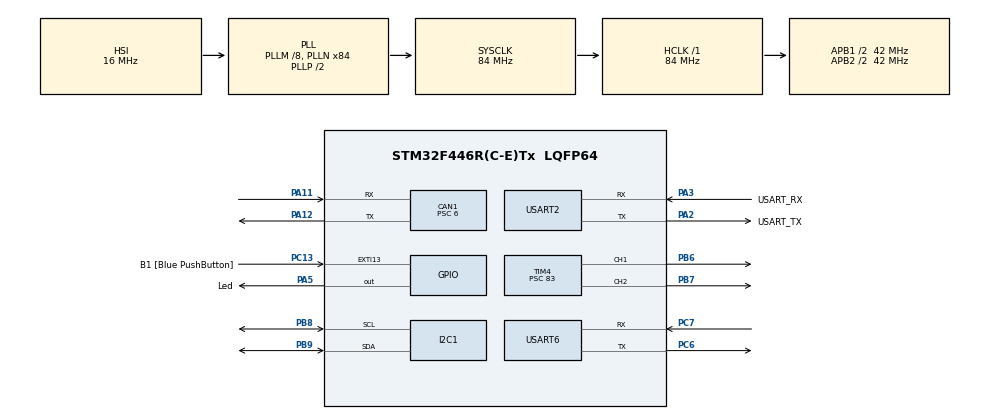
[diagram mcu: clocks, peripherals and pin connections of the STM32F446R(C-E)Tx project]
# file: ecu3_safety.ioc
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CAN1.BS1=CAN_BS1_11TQ
CAN1.BS2=CAN_BS2_2TQ
CAN1.CalculateBaudRate=500000
CAN1.CalculateTimeBit=2000
CAN1.CalculateTimeQuantum=142.85714285714286
CAN1.Prescaler=6
FREERTOS.BinarySemaphores01=CANRXSemaphore,Dynamic,NULL,Depleted
FREERTOS.Mutexes01=vehicleMutex,Dynamic,NULL,Available;controlMutex,Dynamic,NULL,Available;Mutex_RiskData,Dynamic,NULL,Available;Mutex_I2C,Dynamic,NULL,Available
FREERTOS.Queues01=Queue_CAN_RX,16,12,1,Dynamic,NULL,NULL;Queue_DTC,16,4,1,Dynamic,NULL,NULL
FREERTOS.Tasks01=defaultTask,24,128,StartDefaultTask,Default,NULL,Dynamic,NULL,NULL;Task_CAN_RX,40,128,StartCANRXTask,Default,NULL,Dynamic,NULL,NULL;Task_LED,24,128,StartLEDTask,Default,NULL,Dynamic,NULL,NULL;Task_CAN_TX,24,128,StartCANTXTask,Default,NULL,Dynamic,NULL,NULL;Task_Heartbeat,8,128,StartHeartbeatTask,Default,NULL,Dynamic,NULL,NULL;Task_Risk,40,128,StartRiskTask,Default,NULL,Dynamic,NULL,NULL;Task_Brake,24,128,StartBrakeTask,Default,NULL,Dynamic,NULL,NULL;Task_Wiper,24,128,StartWiperTask,Default,NULL,Dynamic,NULL,NULL
Mcu.Family=STM32F4
Mcu.Name=STM32F446R(C-E)Tx
Mcu.Package=LQFP64
NVIC.CAN1_RX0_IRQn=true\:5\:0\:false\:false\:true\:true\:true\:true\:true
NVIC.CAN1_RX1_IRQn=true\:5\:0\:false\:false\:true\:true\:true\:true\:true
NVIC.PriorityGroup=NVIC_PRIORITYGROUP_4
PA11.Mode=CAN_Activate
PA11.Signal=CAN1_RX
PA12.Mode=CAN_Activate
PA12.Signal=CAN1_TX
PA13.GPIO_Label=TMS
PA13.Mode=Serial_Wire
PA13.Signal=SYS_JTMS-SWDIO
PA14.GPIO_Label=TCK
PA14.Mode=Serial_Wire
PA14.Signal=SYS_JTCK-SWCLK
PA2.GPIO_Label=USART_TX
PA2.Mode=Asynchronous
PA2.Signal=USART2_TX
PA3.GPIO_Label=USART_RX
PA3.Mode=Asynchronous
PA3.Signal=USART2_RX
PA5.GPIO_Label=Led
PA5.PinState=GPIO_PIN_SET
PA5.Signal=GPIO_Output
PB3.GPIO_Label=SWO
PB3.Signal=SYS_JTDO-SWO
PB6.Signal=S_TIM4_CH1
PB7.Signal=S_TIM4_CH2
PB8.Mode=I2C
PB8.Signal=I2C1_SCL
PB9.Mode=I2C
PB9.Signal=I2C1_SDA
PC13.GPIO_Label=B1 [Blue PushButton]
PC13.GPIO_ModeDefaultEXTI=GPIO_MODE_IT_FALLING
PC13.Signal=GPXTI13
PC14-OSC32_IN.Mode=LSE-External-Oscillator
PC14-OSC32_IN.Signal=RCC_OSC32_IN
PC15-OSC32_OUT.Mode=LSE-External-Oscillator
PC15-OSC32_OUT.Signal=RCC_OSC32_OUT
PC6.Mode=Asynchronous
PC6.Signal=USART6_TX
PC7.Mode=Asynchronous
PC7.Signal=USART6_RX
PH0-OSC_IN.Mode=HSE-External-Oscillator
PH0-OSC_IN.Signal=RCC_OSC_IN
PH1-OSC_OUT.Mode=HSE-External-Oscillator
PH1-OSC_OUT.Signal=RCC_OSC_OUT
ProjectManager.HeapSize=0x200
ProjectManager.StackSize=0x400
ProjectManager.TargetToolchain=STM32CubeIDE
RCC.48MHZClocksFreq_Value=84000000
RCC.AHBFreq_Value=84000000
RCC.APB1CLKDivider=RCC_HCLK_DIV2
RCC.APB1Freq_Value=42000000
RCC.APB1TimFreq_Value=84000000
RCC.APB2CLKDivider=RCC_HCLK_DIV2
RCC.APB2Freq_Value=42000000
RCC.APB2TimFreq_Value=84000000
RCC.CortexFreq_Value=84000000
RCC.FLatency-AdvancedSettings=FLASH_LATENCY_2
RCC.HCLKFreq_Value=84000000
RCC.HSE_VALUE=8000000
RCC.HSI_VALUE=16000000
RCC.PLLM=8
RCC.PLLN=84
RCC.SYSCLKFreq_VALUE=84000000
RCC.SYSCLKSource=RCC_SYSCLKSOURCE_PLLCLK
RCC.USBFreq_Value=84000000
RCC.VCOOutputFreq_Value=168000000
SH.S_TIM4_CH1.0=TIM4_CH1,PWM Generation1 CH1
SH.S_TIM4_CH2.0=TIM4_CH2,PWM Generation2 CH2
TIM4.Channel-PWM\ Generation1\ CH1=TIM_CHANNEL_1
TIM4.Channel-PWM\ Generation2\ CH2=TIM_CHANNEL_2
TIM4.Period=19999
TIM4.Prescaler=83
TIM4.Pulse-PWM\ Generation1\ CH1=1500
USART2.VirtualMode=VM_ASYNC
USART6.VirtualMode=VM_ASYNC
VP_FREERTOS_VS_CMSIS_V2.Mode=CMSIS_V2
VP_TIM4_VS_ClockSourceINT.Mode=Internal
board=NUCLEO-F446RE

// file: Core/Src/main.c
/* USER CODE BEGIN Header */
/**
  ******************************************************************************
  * @file           : main.c
  * @brief          : Main program body
  ******************************************************************************
  */
/* USER CODE END Header */
#include "main.h"
#include "cmsis_os.h"
#include "can.h"
#include "i2c.h"
#include "tim.h"
#include "usart.h"
#include "gpio.h"

/* USER CODE BEGIN Includes */
#include "can_comm.h"
#include "control_data.h"
/* USER CODE END Includes */

/* USER CODE BEGIN PV */
// [추가] 다른 파일(freertos.c)에 있는 큐 핸들러를 main.c로 땡겨옵니다!
extern osMessageQueueId_t Queue_CAN_RXHandle;

// 전역 변수 선언 (인터럽트 수신 데이터 저장용)
CAN_RxHeaderTypeDef RxHeader;
uint8_t RxData[8];

// 위험도 자체 판단용 상태 변수
volatile uint8_t current_risk_level = RISK_SAFE;

// CAN 송신용 변수 (ECU3 상태 및 Heartbeat 송신용)
CAN_TxHeaderTypeDef TxHeader;
uint8_t TxData[8];
uint32_t TxMailbox;

// [OTA 업데이트용 상태 변수]
volatile uint8_t ota_mode_active = 0;

volatile uint8_t current_humidity = 0; // ECU1에게 받을 습도 데이터 저장용
volatile uint16_t current_lux = 0;     // 조도 데이터 저장용
/* USER CODE END PV */

void SystemClock_Config(void);
void MX_FREERTOS_Init(void);
/* USER CODE BEGIN PFP */
void CAN_Filter_Config(void);
/* USER CODE END PFP */

/* USER CODE BEGIN 0 */
/**
  * @brief  CAN 메시지 수신 완료 콜백 함수 (인터럽트 방식)
  * 기능 명세서의 [CAN 수신] 및 Gateway를 통한 [제어 명령 수신]을 처리합니다.
  */
// main.c 내부 인터럽트 함수 강추 수정본
void HAL_CAN_RxFifo0MsgPendingCallback(CAN_HandleTypeDef *hcan)
{
    if (hcan->Instance == CAN1)
    {
        CAN_Rx_Format_t rxMsg;
        CAN_RxHeaderTypeDef header;

        if (HAL_CAN_GetRxMessage(hcan, CAN_RX_FIFO0, &header, rxMsg.Data) == HAL_OK)
        {
            rxMsg.StdId = header.StdId;
            rxMsg.DLC = header.DLC;

            if (Queue_CAN_RXHandle != NULL) {
                osMessageQueuePut(Queue_CAN_RXHandle, &rxMsg, 0, 0);
            }
        }
    }
}
/* USER CODE END 0 */

int main(void)
{

  /* MCU Configuration--------------------------------------------------------*/

  /* Reset of all peripherals, Initializes the Flash interface and the Systick. */
  HAL_Init();

  /* Configure the system clock */
  SystemClock_Config();

  /* Initialize all configured peripherals */
  MX_GPIO_Init();
  MX_CAN1_Init();
  MX_TIM4_Init();
  MX_USART2_UART_Init();
  MX_USART6_UART_Init();
  MX_I2C1_Init();
  /* USER CODE BEGIN 2 */
  // 1. CAN 필터 설정 및 가동 활성화
  CAN_Filter_Config();
  HAL_CAN_Start(&hcan1);

  // CAN RX IRQ는 Queue_CAN_RX 생성 후 StartCANRXTask에서 활성화

  // 서보모터 제어용 TIM4 PWM CH1(브레이크), CH2(와이퍼) 가동 시작
  HAL_TIM_PWM_Start(&htim4, TIM_CHANNEL_1);
  HAL_TIM_PWM_Start(&htim4, TIM_CHANNEL_2);

  // 초기 서보모터 위치 설정 (정지 혹은 기본 위치 예: 1.5ms = 1500)
  __HAL_TIM_SET_COMPARE(&htim4, TIM_CHANNEL_1, 1500);
  __HAL_TIM_SET_COMPARE(&htim4, TIM_CHANNEL_2, 1500);
  /* USER CODE END 2 */

  /* Init scheduler */
  osKernelInitialize();  /* Call init function for freertos objects (in cmsis_os2.c) */
  MX_FREERTOS_Init();

  /* Start scheduler */
  osKernelStart();

  /* We should never get here as control is now taken by the scheduler */

  /* Infinite loop */
  while (1)
  {

  }
}

void SystemClock_Config(void)
{
  RCC_OscInitTypeDef RCC_OscInitStruct = {0};
  RCC_ClkInitTypeDef RCC_ClkInitStruct = {0};

  /** Configure the main internal regulator output voltage
  */
  __HAL_RCC_PWR_CLK_ENABLE();
  __HAL_PWR_VOLTAGESCALING_CONFIG(PWR_REGULATOR_VOLTAGE_SCALE3);

  /** Initializes the RCC Oscillators according to the specified parameters
  * in the RCC_OscInitTypeDef structure.
  */
  RCC_OscInitStruct.OscillatorType = RCC_OSCILLATORTYPE_HSI;
  RCC_OscInitStruct.HSIState = RCC_HSI_ON;
  RCC_OscInitStruct.HSICalibrationValue = RCC_HSICALIBRATION_DEFAULT;
  RCC_OscInitStruct.PLL.PLLState = RCC_PLL_ON;
  RCC_OscInitStruct.PLL.PLLSource = RCC_PLLSOURCE_HSI;
  RCC_OscInitStruct.PLL.PLLM = 8;
  RCC_OscInitStruct.PLL.PLLN = 84;
  RCC_OscInitStruct.PLL.PLLP = RCC_PLLP_DIV2;
  RCC_OscInitStruct.PLL.PLLQ = 2;
  RCC_OscInitStruct.PLL.PLLR = 2;
  if (HAL_RCC_OscConfig(&RCC_OscInitStruct) != HAL_OK)
  {
    Error_Handler();
  }

  /** Initializes the CPU, AHB and APB buses clocks
  */
  RCC_ClkInitStruct.ClockType = RCC_CLOCKTYPE_HCLK|RCC_CLOCKTYPE_SYSCLK
                              |RCC_CLOCKTYPE_PCLK1|RCC_CLOCKTYPE_PCLK2;
  RCC_ClkInitStruct.SYSCLKSource = RCC_SYSCLKSOURCE_PLLCLK;
  RCC_ClkInitStruct.AHBCLKDivider = RCC_SYSCLK_DIV1;
  RCC_ClkInitStruct.APB1CLKDivider = RCC_HCLK_DIV2;
  RCC_ClkInitStruct.APB2CLKDivider = RCC_HCLK_DIV2;

  if (HAL_RCC_ClockConfig(&RCC_ClkInitStruct, FLASH_LATENCY_2) != HAL_OK)
  {
    Error_Handler();
  }
}

/* USER CODE BEGIN 4 */
/**
  * @brief  CAN1 통신 필터 기본 세팅 함수
  * 모든 ID의 CAN 데이터를 우선 수신하도록 설정합니다. (테스트 및 개발용)
  */
void CAN_Filter_Config(void)
{
    CAN_FilterTypeDef  sFilterConfig;

    sFilterConfig.FilterBank = 0;                     // 필터 뱅크 0번 사용
    sFilterConfig.FilterMode = CAN_FILTERMODE_IDMASK; // 마스크 모드 사용
    sFilterConfig.FilterScale = CAN_FILTERSCALE_32BIT;
    sFilterConfig.FilterIdHigh = 0x0000;
    sFilterConfig.FilterIdLow = 0x0000;
    sFilterConfig.FilterMaskIdHigh = 0x0000;          // 0으로 설정 시 모든 ID 통과 수신
    sFilterConfig.FilterMaskIdLow = 0x0000;
    sFilterConfig.FilterFIFOAssignment = CAN_RX_FIFO0;// 수신 데이터를 FIFO0로 할당
    sFilterConfig.FilterActivation = ENABLE;
    sFilterConfig.SlaveStartFilterBank = 14;

    if (HAL_CAN_ConfigFilter(&hcan1, &sFilterConfig) != HAL_OK)
    {
        Error_Handler();
    }
}
/* USER CODE END 4 */

void Error_Handler(void)
{
  __disable_irq();
  while (1)
  {
  }
}

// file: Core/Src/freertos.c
/* USER CODE BEGIN Header */
/**
  ******************************************************************************
  * File Name          : freertos.c
  * Description        : Code for freertos applications
  ******************************************************************************
  * @attention
  *
  * Copyright (c) 2026 STMicroelectronics.
  * All rights reserved.
  *
  * This software is licensed under terms that can be found in the LICENSE file
  * in the root directory of this software component.
  * If no LICENSE file comes with this software, it is provided AS-IS.
  *
  ******************************************************************************
  */
/* USER CODE END Header */

#include "FreeRTOS.h"
#include "main.h"
#include "cmsis_os.h"
#include "control_data.h"
#include "risk.h"
#include "brake.h"
#include "wiper.h"
#include "led.h"
#include "heartbeat.h"
#include "can_comm.h"

/* USER CODE BEGIN Includes */
#include "can.h"
#include "tim.h"
// #include "lcd_i2c.h" // 팀원들이 만든 LCD 헤더 연동 시 주석 해제
/* USER CODE END Includes */

/* USER CODE BEGIN PTD */
// main.c에 정의된 RiskLevel 열거형 공유용
/*typedef enum {
    RISK_SAFE = 0,
    RISK_CAUTION,
    RISK_WARNING,
    RISK_DANGER
} RiskLevel_t;*/

// 큐 데이터 포맷 정의 (CAN RX 메시지 백업용 구조체)
/*typedef struct {
    uint32_t StdId;
    uint8_t  DLC;
    uint8_t  Data[8];
} CAN_Rx_Format_t;*/
/* USER CODE END PTD */

/* USER CODE BEGIN Variables */
// main.c에 선언된 전역 변수들 extern 참조
extern volatile uint8_t current_risk_level;
extern volatile uint8_t ota_mode_active;
extern volatile uint8_t current_humidity;
extern volatile uint16_t current_lux;

extern CAN_TxHeaderTypeDef TxHeader;
extern uint8_t TxData[8];
extern uint32_t TxMailbox;

// CubeMX가 자동 생성해 주는 핸들러들 명칭 (OS 오브젝트)
extern osThreadId_t Task_CAN_RXHandle;
extern osThreadId_t Task_ControlHandle;
extern osThreadId_t Task_DTC_LogHandle;
extern osThreadId_t Task_LEDHandle;
extern osThreadId_t Task_CAN_TXHandle;
extern osThreadId_t Task_HeartbeatHandle;

extern osMessageQueueId_t Queue_CAN_RXHandle;
extern osMessageQueueId_t Queue_DTCHandle;

extern osMutexId_t Mutex_RiskDataHandle; // 위험도 데이터 보호용 뮤텍스
extern osMutexId_t Mutex_I2CHandle;        // LCD용 I2C 보호용 뮤텍스
/* USER CODE END Variables */
/* Definitions for defaultTask */
osThreadId_t defaultTaskHandle;
const osThreadAttr_t defaultTask_attributes = {
  .name = "defaultTask",
  .stack_size = 128 * 4,
  .priority = (osPriority_t) osPriorityNormal,
};
/* Definitions for Task_CAN_RX */
osThreadId_t Task_CAN_RXHandle;
const osThreadAttr_t Task_CAN_RX_attributes = {
  .name = "Task_CAN_RX",
  .stack_size = 256 * 4,
  .priority = (osPriority_t) osPriorityHigh,
};
/* Definitions for Task_LED */
osThreadId_t Task_LEDHandle;
const osThreadAttr_t Task_LED_attributes = {
  .name = "Task_LED",
  .stack_size = 128 * 4,
  .priority = (osPriority_t) osPriorityNormal,
};
/* Definitions for Task_CAN_TX */
osThreadId_t Task_CAN_TXHandle;
const osThreadAttr_t Task_CAN_TX_attributes = {
  .name = "Task_CAN_TX",
  .stack_size = 128 * 4,
  .priority = (osPriority_t) osPriorityNormal,
};
/* Definitions for Task_Heartbeat */
osThreadId_t Task_HeartbeatHandle;
const osThreadAttr_t Task_Heartbeat_attributes = {
  .name = "Task_Heartbeat",
  .stack_size = 128 * 4,
  .priority = (osPriority_t) osPriorityLow,
};
/* Definitions for Task_Risk */
osThreadId_t Task_RiskHandle;
const osThreadAttr_t Task_Risk_attributes = {
  .name = "Task_Risk",
  .stack_size = 128 * 4,
  .priority = (osPriority_t) osPriorityHigh,
};
/* Definitions for Task_Brake */
osThreadId_t Task_BrakeHandle;
const osThreadAttr_t Task_Brake_attributes = {
  .name = "Task_Brake",
  .stack_size = 256 * 4,
  .priority = (osPriority_t) osPriorityNormal,
};
/* Definitions for Task_Wiper */
osThreadId_t Task_WiperHandle;
const osThreadAttr_t Task_Wiper_attributes = {
  .name = "Task_Wiper",
  .stack_size = 256 * 4,
  .priority = (osPriority_t) osPriorityNormal,
};
/* Definitions for Queue_CAN_RX */
osMessageQueueId_t Queue_CAN_RXHandle;
const osMessageQueueAttr_t Queue_CAN_RX_attributes = {
  .name = "Queue_CAN_RX"
};
/* Definitions for Queue_DTC */
osMessageQueueId_t Queue_DTCHandle;
const osMessageQueueAttr_t Queue_DTC_attributes = {
  .name = "Queue_DTC"
};
/* Definitions for vehicleMutex */
osMutexId_t vehicleMutexHandle;
const osMutexAttr_t vehicleMutex_attributes = {
  .name = "vehicleMutex"
};
/* Definitions for controlMutex */
osMutexId_t controlMutexHandle;
const osMutexAttr_t controlMutex_attributes = {
  .name = "controlMutex"
};
/* Definitions for Mutex_RiskData */
osMutexId_t Mutex_RiskDataHandle;
const osMutexAttr_t Mutex_RiskData_attributes = {
  .name = "Mutex_RiskData"
};
/* Definitions for Mutex_I2C */
osMutexId_t Mutex_I2CHandle;
const osMutexAttr_t Mutex_I2C_attributes = {
  .name = "Mutex_I2C"
};
/* Definitions for CANRXSemaphore */
osSemaphoreId_t CANRXSemaphoreHandle;
const osSemaphoreAttr_t CANRXSemaphore_attributes = {
  .name = "CANRXSemaphore"
};

void StartDefaultTask(void *argument);
void StartCANRXTask(void *argument);
void StartLEDTask(void *argument);
void StartCANTXTask(void *argument);
void StartHeartbeatTask(void *argument);
void StartRiskTask(void *argument);
void StartBrakeTask(void *argument);
void StartWiperTask(void *argument);

void MX_FREERTOS_Init(void); /* (MISRA C 2004 rule 8.1) */

void MX_FREERTOS_Init(void) {
  /* Create the mutex(es) */
  /* creation of vehicleMutex */
  vehicleMutexHandle = osMutexNew(&vehicleMutex_attributes);

  /* creation of controlMutex */
  controlMutexHandle = osMutexNew(&controlMutex_attributes);

  /* creation of Mutex_RiskData */
  Mutex_RiskDataHandle = osMutexNew(&Mutex_RiskData_attributes);

  /* creation of Mutex_I2C */
  Mutex_I2CHandle = osMutexNew(&Mutex_I2C_attributes);

  /* USER CODE BEGIN RTOS_MUTEX */
    // 만약 CubeMX에서 생성 안 되어 있다면 여기서 직접 생성 가능
  /* USER CODE END RTOS_MUTEX */

  /* Create the semaphores(s) */
  /* creation of CANRXSemaphore */
  CANRXSemaphoreHandle = osSemaphoreNew(1, 0, &CANRXSemaphore_attributes);

  /* Create the queue(s) */
  /* creation of Queue_CAN_RX */
  Queue_CAN_RXHandle = osMessageQueueNew (16, sizeof(CAN_Rx_Format_t), &Queue_CAN_RX_attributes);

  /* creation of Queue_DTC */
  Queue_DTCHandle = osMessageQueueNew (16, 4, &Queue_DTC_attributes);

  /* Create the thread(s) */
  /* creation of defaultTask */
  defaultTaskHandle = osThreadNew(StartDefaultTask, NULL, &defaultTask_attributes);

  /* creation of Task_CAN_RX */
  Task_CAN_RXHandle = osThreadNew(StartCANRXTask, NULL, &Task_CAN_RX_attributes);

  /* creation of Task_LED */
  Task_LEDHandle = osThreadNew(StartLEDTask, NULL, &Task_LED_attributes);

  /* creation of Task_CAN_TX */
  Task_CAN_TXHandle = osThreadNew(StartCANTXTask, NULL, &Task_CAN_TX_attributes);

  /* creation of Task_Heartbeat */
  Task_HeartbeatHandle = osThreadNew(StartHeartbeatTask, NULL, &Task_Heartbeat_attributes);

  /* creation of Task_Risk */
  Task_RiskHandle = osThreadNew(StartRiskTask, NULL, &Task_Risk_attributes);

  /* creation of Task_Brake */
  Task_BrakeHandle = osThreadNew(StartBrakeTask, NULL, &Task_Brake_attributes);

  /* creation of Task_Wiper */
  Task_WiperHandle = osThreadNew(StartWiperTask, NULL, &Task_Wiper_attributes);

  /* USER CODE BEGIN RTOS_THREADS */
    // 각 태스크들은 CubeMX 툴에 의해 자동으로 osThreadNew로 등록되어 올라옵니다.
  /* USER CODE END RTOS_THREADS */

}

void StartDefaultTask(void *argument)
{
  for(;;)
  {
    osDelay(1);
  }
}

void StartCANRXTask(void *argument)
{
  /* USER CODE BEGIN StartCANRXTask */
  CAN_Rx_Format_t rxMsg;

  HAL_CAN_ActivateNotification(&hcan1, CAN_IT_RX_FIFO0_MSG_PENDING);

  for(;;)
  {
	  if (osMessageQueueGet(Queue_CAN_RXHandle, &rxMsg, NULL, osWaitForever) == osOK)
	   {
		  switch (rxMsg.StdId)
		              {
		                  case CAN_ID_ECU1_ENV:
		                      if (osMutexAcquire(Mutex_RiskDataHandle, osWaitForever) == osOK) {
		                    	  sensorData.temperature=rxMsg.Data[0];
		                          sensorData.humidity = rxMsg.Data[1];
		                          sensorData.lux = (rxMsg.Data[2] << 8) | rxMsg.Data[3];
		                          osMutexRelease(Mutex_RiskDataHandle);
		                      }
		                      break;

		                  case CAN_ID_ECU2_DRIVE:
		                      if (osMutexAcquire(Mutex_RiskDataHandle, osWaitForever) == osOK) {
		                          drivingData.speed = rxMsg.Data[0];
		                          drivingData.distance = (rxMsg.Data[2] << 8) | rxMsg.Data[1];
		                          osMutexRelease(Mutex_RiskDataHandle);
		                      }
		                      // 수신 즉시 위험도 계산 노드 구동
		                      Process_Risk_Analysis();
		                      break;

		                  case CAN_ID_GATEWAY_CMD:
		                      CAN_HandleDownlink(rxMsg.Data);
		                      break;
		              }
	    }
  }
  /* USER CODE END StartCANRXTask */
}

void StartLEDTask(void *argument)
{
  /* USER CODE BEGIN StartLEDTask */
  /* Infinite loop */
  for(;;)
  {
    if (ota_mode_active == 0U) {
      Control_LED_Alert();
    }
    osDelay(1);
  }
  /* USER CODE END StartLEDTask */
}

void StartCANTXTask(void *argument)
{
  /* USER CODE BEGIN StartCANTXTask */
  /* Infinite loop */
  for(;;)
  {
    if (ota_mode_active == 0U) {
      CAN_Send_Status();
    }
    osDelay(1000);
  }
  /* USER CODE END StartCANTXTask */
}

void StartHeartbeatTask(void *argument)
{
  /* USER CODE BEGIN StartHeartbeatTask */
  /* Infinite loop */
  for(;;)
  {
    if (ota_mode_active == 0U) {
      Send_Heartbeat_Signal();
    }
    osDelay(1000);
  }
  /* USER CODE END StartHeartbeatTask */
}

void StartRiskTask(void *argument)
{
  /* USER CODE BEGIN StartRiskTask */
  /* Infinite loop */
  for(;;)
  {
    if (ota_mode_active == 0U) {
      Process_Risk_Analysis();
    }
    osDelay(20);
  }
  /* USER CODE END StartRiskTask */
}

void StartBrakeTask(void *argument)
{
  /* USER CODE BEGIN StartBrakeTask */
  /* Infinite loop */
  for(;;)
  {
    if (ota_mode_active == 0U) {
      Control_Brake();
    }
    osDelay(20);
  }
  /* USER CODE END StartBrakeTask */
}

void StartWiperTask(void *argument)
{
  /* USER CODE BEGIN StartWiperTask */
  /* Infinite loop */
  for(;;)
  {
    if (ota_mode_active == 0U) {
      Control_Wiper();
    }
    osDelay(1);
  }
  /* USER CODE END StartWiperTask */
}
